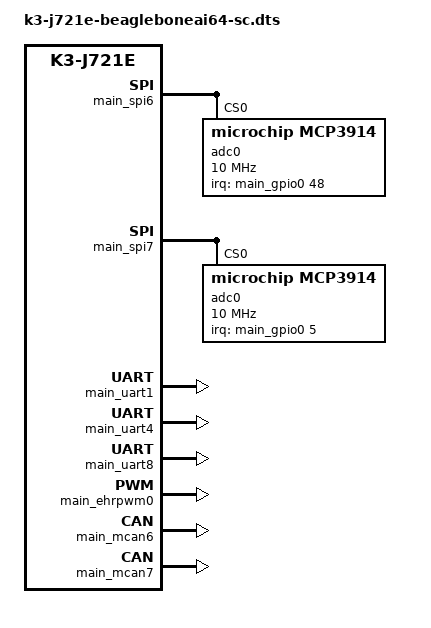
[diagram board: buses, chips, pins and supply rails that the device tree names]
#include "k3-j721e-beagleboneai64.dts"

// Device id
// https://software-dl.ti.com/tisci/esd/latest/5_soc_doc/j721e/devices.html
// https://e2e.ti.com/support/processors-group/processors/f/processors-forum/947437/faq-ccs-tda4vm-how-to-use-spi-spi_dev-on-tda4-j721e

&main_pmx0 {
	main_uart1_pins_default: main-uart1-pins-default {
		pinctrl-single,pins = <
			J721E_IOPAD(0x00C, PIN_INPUT, 14) /* (AF22) UART1_RXD */
			J721E_IOPAD(0x010, PIN_OUTPUT, 14) /* (AJ23) UART1_TXD */
			J721E_IOPAD(0x204, PIN_OUTPUT, 0) /* (AD5) UART1_RTS */
		>;
	};

	main_uart4_pins_default: main-uart4-pins-default {
		pinctrl-single,pins = <
			J721E_IOPAD(0x0E8, PIN_INPUT, 8) /* (AG28) UART4_RXD */
			J721E_IOPAD(0x0EC, PIN_OUTPUT, 8) /* (AG27) UART4_TXD */
			J721E_IOPAD(0x104, PIN_OUTPUT, 8) /* (AD28) UART4_RTS */
		>;
	};

	main_uart8_pins_default: main-uart8-pins-default {
		pinctrl-single,pins = <
			J721E_IOPAD(0x124, PIN_INPUT, 14) /* (Y24) UART4_RXD */
			J721E_IOPAD(0x128, PIN_OUTPUT, 14) /* (AA25) UART4_TXD */
			J721E_IOPAD(0x134, PIN_OUTPUT, 14) /* (AF26) UART4_RTS */
		>;
	};

	mcan6_pins_default: mcan6-pins-default {
		pinctrl-single,pins = <
			J721E_IOPAD(0x040, PIN_OUTPUT_PULLUP, 6) /* (AC24) MCAN7_TX */
			J721E_IOPAD(0x044, PIN_INPUT_PULLUP, 6) /* (AE24) MCAN7_RX */
		>;		
	};

	mcan7_pins_default: mcan7-pins-default {
		pinctrl-single,pins = <
			J721E_IOPAD(0x088, PIN_OUTPUT_PULLUP, 6) /* (AH25) MCAN7_TX */
			J721E_IOPAD(0x08C, PIN_INPUT_PULLUP, 6) /* (AG25) MCAN7_RX */
		>;		
	};

	spi6_pins_default: spi6-pins-default {
		pinctrl-single,pins = <
			J721E_IOPAD(0x09C, PIN_OUTPUT, 4) /* (AC22) SPI6_CLK bootmode1*/
			J721E_IOPAD(0x074, PIN_OUTPUT, 4) /* (AC21) SPI6_CS0 */
			J721E_IOPAD(0x0A4, PIN_INPUT, 4) /* (AH22) SPI6_D1 */
			J721E_IOPAD(0x0A0, PIN_OUTPUT, 4) /* (AJ22) SPI6_D0 */
			J721E_IOPAD(0x0C4, PIN_INPUT, 7) /* (AC29) GPIO0_48 IRQ*/
		>;
	};

	spi7_pins_default: spi7-pins-default {
		pinctrl-single,pins = <
			J721E_IOPAD(0x234, PIN_OUTPUT, 6) /* (U3) SPI7_CLK */
			J721E_IOPAD(0x230, PIN_OUTPUT, 6) /* (U2) SPI7_CS0 */
			J721E_IOPAD(0x23C, PIN_INPUT, 6) /* (V5) SPI7_D1 */
			J721E_IOPAD(0x238, PIN_OUTPUT, 6) /* (V6) SPI7_D0 BOOTMODE4*/
			J721E_IOPAD(0x014, PIN_INPUT, 7) /* (AH23) GPIO0_5 IRQ*/
		>;
	};

	epwm_pins_default: epwm-pins-default {
		pinctrl-single,pins = <
			J721E_IOPAD(0x164, PIN_OUTPUT, 6) /* (V29) EHRPWM0_A */
			J721E_IOPAD(0x168, PIN_OUTPUT, 6) /* (V27) EHRPWM0_B */
		>;
	};

	relay_pins_default: relay-pins-default {
		pinctrl-single,pins = <
			J721E_IOPAD(0x064, PIN_OUTPUT, 7) /* (AD23) GPIO0_24 LOAD_RELAY*/
			J721E_IOPAD(0x1AC, PIN_OUTPUT, 7) /* (Y27) GPIO0_106 SPARE_RELAY*/
			J721E_IOPAD(0x118, PIN_OUTPUT, 7) /* (AC26) GPIO0_69 GEN_RELAY*/
			J721E_IOPAD(0x110, PIN_OUTPUT, 7) /* (AD29) GPIO0_67 GRID_RELAY*/
		>;		
	};

	adc_rst_pins_default: adc-rst-pins-default {
		pinctrl-single,pins = <
			J721E_IOPAD(0x01C, PIN_OUTPUT_PULLDOWN, 7) /* (AD22) GPIO0_7 ADC_PWR_EN*/
			J721E_IOPAD(0x038, PIN_OUTPUT_PULLUP, 7) /* (AG24) GPIO0_14 ADC_RST*/
			J721E_IOPAD(0x0D0, PIN_OUTPUT_PULLUP, 7) /* (Y1) GPIO0_51 ADC_RST */
		>;		
	};
	
	drm_pins_default: drm-pins-default {
		pinctrl-single,pins = <
			J721E_IOPAD(0x020, PIN_INPUT, 7) /* (AE20) GPIO0_8 DRM_1_5*/
			J721E_IOPAD(0x1A8, PIN_INPUT, 7) /* (Y29) GPIO0_105 DRM_2_6*/
			J721E_IOPAD(0x11C, PIN_INPUT, 7) /* (AA24) GPIO0_70 DRM_3_7*/
			J721E_IOPAD(0x114, PIN_INPUT, 7) /* (AB27) GPIO0_68 DRM_4_8*/
			J721E_IOPAD(0x10C, PIN_INPUT, 7) /* (AC25) GPIO0_66 DRM_0*/
			J721E_IOPAD(0x144, PIN_OUTPUT, 7) /* (Y25) GPIO0_80 DRM_STROBE*/
		>;		
	};

};

/ {
	gpios {
		compatible = "dummy";
		pinctrl-names = "gpios";
		pinctrl-0 = <&relay_pins_default>, <&adc_rst_pins_default>, <&drm_pins_default>;
	};
};

&cbass_main {
	main_spi6: spi@2160000 {
		compatible = "ti,am654-mcspi","ti,omap4-mcspi";
		reg = <0x0 0x2160000 0x0 0x400>;
		interrupts = <GIC_SPI 190 IRQ_TYPE_LEVEL_HIGH>; // GIC500_SPI_IN_222 - 32
		clocks = <&k3_clks 272 1>;
		power-domains = <&k3_pds 272 TI_SCI_PD_EXCLUSIVE>;
		#address-cells = <1>;
		#size-cells = <0>;
		dma-names = "tx0", "rx0";
		dmas = <&main_udmap 0xC624>, <&main_udmap 0x4624>;
	};

	main_spi7: spi@2170000 {
		compatible = "ti,am654-mcspi","ti,omap4-mcspi";
		reg = <0x0 0x2170000 0x0 0x400>;
		interrupts = <GIC_SPI 191 IRQ_TYPE_LEVEL_HIGH>; // GIC500_SPI_IN_223 - 32
		clocks = <&k3_clks 273 1>;
		power-domains = <&k3_pds 273 TI_SCI_PD_EXCLUSIVE>;
		#address-cells = <1>;
		#size-cells = <0>;
		dma-names = "tx0", "rx0";
		dmas = <&main_udmap 0xC628>, <&main_udmap 0x4628>;
	};

};

&main_i2c4 {
	status = "disabled";
};

&main_i2c6 {
	status = "disabled";
};

&main_uart1 {
	status = "okay";
	pinctrl-names = "default";
	pinctrl-0 = <&main_uart1_pins_default>;

	dma-names = "tx", "rx";
	dmas = <&main_udmap 0xC701>, <&main_udmap 0x4701>;
};

&main_uart4 {
	status = "okay";
	pinctrl-names = "default";
	pinctrl-0 = <&main_uart4_pins_default>;

	dma-names = "tx", "rx";
	dmas = <&main_udmap 0xC704>, <&main_udmap 0x4704>;
};

&main_uart8 {
	status = "okay";
	pinctrl-names = "default";
	pinctrl-0 = <&main_uart8_pins_default>;

	dma-names = "tx", "rx";
	dmas = <&main_udmap 0xC708>, <&main_udmap 0x4708>;
};

&main_spi6 {
	status = "okay";
	pinctrl-names = "default";
	pinctrl-0 = <&spi6_pins_default>;
	ti,pindir-d0-out-d1-in;

	adc0@0 {
		spi-max-frequency = <10000000>;
		reg = <0>;
		compatible = "microchip,mcp3914";
		clocks = <&cmn_refclk>;
		microchip,device-addr = <1>;
		interrupt-parent = <&main_gpio0>;
		interrupts = <48 2>;
	};
};

&main_spi7 {
	status = "okay";
	pinctrl-names = "default";
	pinctrl-0 = <&spi7_pins_default>;
	ti,pindir-d0-out-d1-in;

	adc0@0 {
		spi-max-frequency = <10000000>;
		reg = <0>;
		compatible = "microchip,mcp3914";
		clocks = <&cmn_refclk>;
		microchip,device-addr = <1>;
		interrupt-parent = <&main_gpio0>;
		interrupts = <5 2>;
	};
};

&main_ehrpwm0 {
	status = "okay";
	pinctrl-names = "default";
	pinctrl-0 = <&epwm_pins_default>;
};

&main_mcan6 {
	status = "okay";
	pinctrl-names = "default";
	pinctrl-0 = <&mcan6_pins_default>;

	can-transceiver {
		max-bitrate = <5000000>;
	};
};

&main_mcan7 {
	status = "okay";
	pinctrl-names = "default";
	pinctrl-0 = <&mcan7_pins_default>;

	can-transceiver {
		max-bitrate = <5000000>;
	};
};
